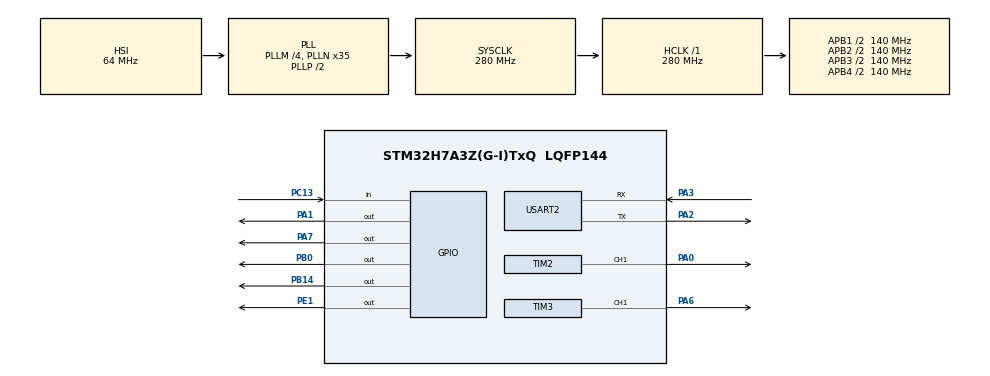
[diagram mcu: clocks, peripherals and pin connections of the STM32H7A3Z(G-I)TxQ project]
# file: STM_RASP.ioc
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CORTEX_M7.default_mode_Activation=1
Mcu.Family=STM32H7
Mcu.Name=STM32H7A3Z(G-I)TxQ
Mcu.Package=LQFP144
NUCLEO-H7A3ZI-Q.BUTTON=1
NUCLEO-H7A3ZI-Q.LD1=true
NUCLEO-H7A3ZI-Q.LD2=true
NUCLEO-H7A3ZI-Q.LD3=true
NUCLEO-H7A3ZI-Q.VCP=true
NVIC.EXTI15_10_IRQn=true\:0\:0\:false\:false\:true\:false\:true\:true
NVIC.PriorityGroup=NVIC_PRIORITYGROUP_4
NVIC.TIM2_IRQn=true\:0\:0\:false\:false\:true\:true\:true\:true
NVIC.TIM3_IRQn=true\:0\:0\:false\:false\:true\:true\:true\:true
NVIC.USART2_IRQn=true\:0\:0\:false\:false\:true\:true\:true\:true
PA0.Signal=S_TIM2_CH1_ETR
PA1.Signal=GPIO_Output
PA2.Mode=Asynchronous
PA2.Signal=USART2_TX
PA3.Mode=Asynchronous
PA3.Signal=USART2_RX
PA6.Signal=S_TIM3_CH1
PA7.Signal=GPIO_Output
PB0.Signal=GPIO_Output
PB14.Signal=GPIO_Output
PC13.Signal=GPIO_Input
PC14-OSC32_IN.GPIO_Label=OSC32_IN
PC14-OSC32_IN.Signal=RCC_OSC32_IN
PC15-OSC32_OUT.GPIO_Label=OSC32_OUT
PC15-OSC32_OUT.Signal=RCC_OSC32_OUT
PD8.Signal=USART3_TX
PD9.Signal=USART3_RX
PE1.Signal=GPIO_Output
PH0-OSC_IN.GPIO_Label=PH0-MCU
PH0-OSC_IN.Signal=RCC_OSC_IN
PH1-OSC_OUT.GPIO_Label=PH1-MCU
PH1-OSC_OUT.Signal=RCC_OSC_OUT
ProjectManager.HeapSize=0x200
ProjectManager.StackSize=0x400
ProjectManager.TargetToolchain=STM32CubeIDE
RCC.ADCFreq_Value=129000000
RCC.APB1Freq_Value=140000000
RCC.APB2Freq_Value=140000000
RCC.APB3Freq_Value=140000000
RCC.APB4Freq_Value=140000000
RCC.CDPPRE=RCC_APB3_DIV2
RCC.CDPPRE1=RCC_APB1_DIV2
RCC.CDPPRE2=RCC_APB2_DIV2
RCC.CortexFreq_Value=280000000
RCC.DIVM1=4
RCC.DIVM3=1
RCC.DIVN1=35
RCC.DIVN3=24
RCC.DIVQ1=4
RCC.HCLKFreq_Value=280000000
RCC.HSE_VALUE=8000000
RCC.PLLFRACN=0
RCC.PWR_Regulator_Voltage_Scale=PWR_REGULATOR_VOLTAGE_SCALE0
RCC.SRDPPRE=RCC_APB4_DIV2
RCC.SYSCLKFreq_VALUE=280000000
RCC.SYSCLKSource=RCC_SYSCLKSOURCE_PLLCLK
RCC.SupplySource=PWR_DIRECT_SMPS_SUPPLY
RCC.USBCLockSelection=RCC_USBCLKSOURCE_HSI48
RCC.USBFreq_Value=48000000
SH.S_TIM2_CH1_ETR.0=TIM2_CH1,PWM Generation1 CH1
SH.S_TIM3_CH1.0=TIM3_CH1,PWM Generation1 CH1
TIM2.Channel-PWM\ Generation1\ CH1=TIM_CHANNEL_1
TIM2.Period=685
TIM2.Pulse-PWM\ Generation1\ CH1=343
TIM3.Channel-PWM\ Generation1\ CH1=TIM_CHANNEL_1
TIM3.Period=41999
TIM3.Prescaler=3
TIM3.Pulse-PWM\ Generation1\ CH1=21000
USART2.VirtualMode-Asynchronous=VM_ASYNC
VP_MEMORYMAP_VS_MEMORYMAP.Mode=CurAppReg
VP_NUCLEO-H7A3ZI-Q_VS_BSP_COMMON.Mode=COMMON
board=NUCLEO-H7A3ZI-Q

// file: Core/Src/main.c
/* USER CODE BEGIN Header */
/**
  ******************************************************************************
  * @file           : main.c
  * @brief          : Main program body
  ******************************************************************************
  * @attention
  *
  * Copyright (c) 2026 STMicroelectronics.
  * All rights reserved.
  *
  * This software is licensed under terms that can be found in the LICENSE file
  * in the root directory of this software component.
  * If no LICENSE file comes with this software, it is provided AS-IS.
  *
  ******************************************************************************
  */
/* USER CODE END Header */
#include "main.h"

/* USER CODE BEGIN Includes */
#include <stdio.h>
#include <string.h>
/* USER CODE END Includes */

COM_InitTypeDef BspCOMInit;

TIM_HandleTypeDef htim2;
TIM_HandleTypeDef htim3;

UART_HandleTypeDef huart2;

/* USER CODE BEGIN PV */

char rxBuffer[64];
uint8_t rxChar;
uint8_t rxIndex = 0;
volatile uint8_t commandReady = 0;

#define PULSES_PER_REV 10000UL
#define TIMER_CLOCK_HZ 280000000UL

volatile uint32_t motor1_target_pulses = 0;
volatile uint32_t motor2_target_pulses = 0;

volatile uint32_t motor1_pulse_count = 0;
volatile uint32_t motor2_pulse_count = 0;

volatile uint8_t motor1_done = 1;
volatile uint8_t motor2_done = 1;

uint8_t uart_rx_byte;
char uart_rx_buffer[64];

volatile uint8_t uart_rx_index = 0;
volatile uint8_t uart_command_ready = 0;

volatile uint8_t both_report_pending = 0;
volatile uint8_t motor1_report_pending = 0;
volatile uint8_t motor2_report_pending = 0;

/* USER CODE END PV */

void SystemClock_Config(void);
static void MPU_Config(void);
static void MX_GPIO_Init(void);
static void MX_TIM2_Init(void);
static void MX_TIM3_Init(void);
static void MX_USART2_UART_Init(void);
/* USER CODE BEGIN PFP */
void ProcessCommand(void);
void MoveMotor1(float angle, uint32_t rpm, uint8_t direction);
void MoveMotor2(float angle, uint32_t rpm, uint8_t direction);
void MoveBothMotors(float angle1, uint32_t rpm1,
                    uint8_t direction1,
                    float angle2, uint32_t rpm2,
                    uint8_t direction2);
void SetMotorSpeed(TIM_HandleTypeDef *htim, uint32_t rpm);
void ProcessUARTCommand(void);
void UART_SendMessage(const char *message);
/* USER CODE END PFP */

int main(void)
{

  /* MPU Configuration--------------------------------------------------------*/
  MPU_Config();

  /* MCU Configuration--------------------------------------------------------*/

  /* Reset of all peripherals, Initializes the Flash interface and the Systick. */
  HAL_Init();

  /* Configure the system clock */
  SystemClock_Config();

  /* Initialize all configured peripherals */
  MX_GPIO_Init();
  MX_TIM2_Init();
  MX_TIM3_Init();
  MX_USART2_UART_Init();
  HAL_UART_Receive_IT(&huart2, &uart_rx_byte, 1);
  /* USER CODE END 2 */

  BSP_LED_Init(LED_GREEN);
  BSP_LED_Init(LED_YELLOW);
  BSP_LED_Init(LED_RED);

  /* Initialize USER push-button, will be used to trigger an interrupt each time it's pressed.*/
  BSP_PB_Init(BUTTON_USER, BUTTON_MODE_EXTI);

  /* Initialize COM1 port (115200, 8 bits (7-bit data + 1 stop bit), no parity */
  BspCOMInit.BaudRate   = 115200;
  BspCOMInit.WordLength = COM_WORDLENGTH_8B;
  BspCOMInit.StopBits   = COM_STOPBITS_1;
  BspCOMInit.Parity     = COM_PARITY_NONE;
  BspCOMInit.HwFlowCtl  = COM_HWCONTROL_NONE;
  if (BSP_COM_Init(COM1, &BspCOMInit) != BSP_ERROR_NONE)
  {
    Error_Handler();
  }

  /* Infinite loop */
  /* USER CODE BEGIN WHILE */
  while (1)
  {
      ProcessUARTCommand();

      if (both_report_pending && motor1_done && motor2_done)
      {
          both_report_pending = 0;
          UART_SendMessage("DONE\r\n");
      }
      else
      {
          if (motor1_report_pending && motor1_done)
          {
              motor1_report_pending = 0;
              UART_SendMessage("DONE\r\n");
          }

          if (motor2_report_pending && motor2_done)
          {
              motor2_report_pending = 0;
              UART_SendMessage("DONE\r\n");
          }
      }

  }
  /* USER CODE END 3 */
}

void SystemClock_Config(void)
{
  RCC_OscInitTypeDef RCC_OscInitStruct = {0};
  RCC_ClkInitTypeDef RCC_ClkInitStruct = {0};

  /*AXI clock gating */
  RCC->CKGAENR = 0xFFFFFFFF;

  /** Supply configuration update enable
  */
  HAL_PWREx_ConfigSupply(PWR_DIRECT_SMPS_SUPPLY);

  /** Configure the main internal regulator output voltage
  */
  __HAL_PWR_VOLTAGESCALING_CONFIG(PWR_REGULATOR_VOLTAGE_SCALE0);

  while(!__HAL_PWR_GET_FLAG(PWR_FLAG_VOSRDY)) {}

  /** Initializes the RCC Oscillators according to the specified parameters
  * in the RCC_OscInitTypeDef structure.
  */
  RCC_OscInitStruct.OscillatorType = RCC_OSCILLATORTYPE_HSI;
  RCC_OscInitStruct.HSIState = RCC_HSI_DIV1;
  RCC_OscInitStruct.HSICalibrationValue = 64;
  RCC_OscInitStruct.PLL.PLLState = RCC_PLL_ON;
  RCC_OscInitStruct.PLL.PLLSource = RCC_PLLSOURCE_HSI;
  RCC_OscInitStruct.PLL.PLLM = 4;
  RCC_OscInitStruct.PLL.PLLN = 35;
  RCC_OscInitStruct.PLL.PLLP = 2;
  RCC_OscInitStruct.PLL.PLLQ = 4;
  RCC_OscInitStruct.PLL.PLLR = 2;
  RCC_OscInitStruct.PLL.PLLRGE = RCC_PLL1VCIRANGE_3;
  RCC_OscInitStruct.PLL.PLLVCOSEL = RCC_PLL1VCOWIDE;
  RCC_OscInitStruct.PLL.PLLFRACN = 0;
  if (HAL_RCC_OscConfig(&RCC_OscInitStruct) != HAL_OK)
  {
    Error_Handler();
  }

  /** Initializes the CPU, AHB and APB buses clocks
  */
  RCC_ClkInitStruct.ClockType = RCC_CLOCKTYPE_HCLK|RCC_CLOCKTYPE_SYSCLK
                              |RCC_CLOCKTYPE_PCLK1|RCC_CLOCKTYPE_PCLK2
                              |RCC_CLOCKTYPE_D3PCLK1|RCC_CLOCKTYPE_D1PCLK1;
  RCC_ClkInitStruct.SYSCLKSource = RCC_SYSCLKSOURCE_PLLCLK;
  RCC_ClkInitStruct.SYSCLKDivider = RCC_SYSCLK_DIV1;
  RCC_ClkInitStruct.AHBCLKDivider = RCC_HCLK_DIV1;
  RCC_ClkInitStruct.APB3CLKDivider = RCC_APB3_DIV2;
  RCC_ClkInitStruct.APB1CLKDivider = RCC_APB1_DIV2;
  RCC_ClkInitStruct.APB2CLKDivider = RCC_APB2_DIV2;
  RCC_ClkInitStruct.APB4CLKDivider = RCC_APB4_DIV2;

  if (HAL_RCC_ClockConfig(&RCC_ClkInitStruct, FLASH_LATENCY_6) != HAL_OK)
  {
    Error_Handler();
  }
}

static void MX_TIM2_Init(void)
{

  TIM_MasterConfigTypeDef sMasterConfig = {0};
  TIM_OC_InitTypeDef sConfigOC = {0};

  htim2.Instance = TIM2;
  htim2.Init.Prescaler = 0;
  htim2.Init.CounterMode = TIM_COUNTERMODE_UP;
  htim2.Init.Period = 685;
  htim2.Init.ClockDivision = TIM_CLOCKDIVISION_DIV1;
  htim2.Init.AutoReloadPreload = TIM_AUTORELOAD_PRELOAD_DISABLE;
  if (HAL_TIM_PWM_Init(&htim2) != HAL_OK)
  {
    Error_Handler();
  }
  sMasterConfig.MasterOutputTrigger = TIM_TRGO_RESET;
  sMasterConfig.MasterSlaveMode = TIM_MASTERSLAVEMODE_DISABLE;
  if (HAL_TIMEx_MasterConfigSynchronization(&htim2, &sMasterConfig) != HAL_OK)
  {
    Error_Handler();
  }
  sConfigOC.OCMode = TIM_OCMODE_PWM1;
  sConfigOC.Pulse = 343;
  sConfigOC.OCPolarity = TIM_OCPOLARITY_HIGH;
  sConfigOC.OCFastMode = TIM_OCFAST_DISABLE;
  if (HAL_TIM_PWM_ConfigChannel(&htim2, &sConfigOC, TIM_CHANNEL_1) != HAL_OK)
  {
    Error_Handler();
  }
  HAL_TIM_MspPostInit(&htim2);

}

static void MX_TIM3_Init(void)
{

  TIM_MasterConfigTypeDef sMasterConfig = {0};
  TIM_OC_InitTypeDef sConfigOC = {0};

  htim3.Instance = TIM3;
  htim3.Init.Prescaler = 3;
  htim3.Init.CounterMode = TIM_COUNTERMODE_UP;
  htim3.Init.Period = 41999;
  htim3.Init.ClockDivision = TIM_CLOCKDIVISION_DIV1;
  htim3.Init.AutoReloadPreload = TIM_AUTORELOAD_PRELOAD_DISABLE;
  if (HAL_TIM_PWM_Init(&htim3) != HAL_OK)
  {
    Error_Handler();
  }
  sMasterConfig.MasterOutputTrigger = TIM_TRGO_RESET;
  sMasterConfig.MasterSlaveMode = TIM_MASTERSLAVEMODE_DISABLE;
  if (HAL_TIMEx_MasterConfigSynchronization(&htim3, &sMasterConfig) != HAL_OK)
  {
    Error_Handler();
  }
  sConfigOC.OCMode = TIM_OCMODE_PWM1;
  sConfigOC.Pulse = 21000;
  sConfigOC.OCPolarity = TIM_OCPOLARITY_HIGH;
  sConfigOC.OCFastMode = TIM_OCFAST_DISABLE;
  if (HAL_TIM_PWM_ConfigChannel(&htim3, &sConfigOC, TIM_CHANNEL_1) != HAL_OK)
  {
    Error_Handler();
  }
  HAL_TIM_MspPostInit(&htim3);

}

static void MX_USART2_UART_Init(void)
{

  huart2.Instance = USART2;
  huart2.Init.BaudRate = 115200;
  huart2.Init.WordLength = UART_WORDLENGTH_8B;
  huart2.Init.StopBits = UART_STOPBITS_1;
  huart2.Init.Parity = UART_PARITY_NONE;
  huart2.Init.Mode = UART_MODE_TX_RX;
  huart2.Init.HwFlowCtl = UART_HWCONTROL_NONE;
  huart2.Init.OverSampling = UART_OVERSAMPLING_16;
  huart2.Init.OneBitSampling = UART_ONE_BIT_SAMPLE_DISABLE;
  huart2.Init.ClockPrescaler = UART_PRESCALER_DIV1;
  huart2.AdvancedInit.AdvFeatureInit = UART_ADVFEATURE_NO_INIT;
  if (HAL_UART_Init(&huart2) != HAL_OK)
  {
    Error_Handler();
  }
  if (HAL_UARTEx_SetTxFifoThreshold(&huart2, UART_TXFIFO_THRESHOLD_1_8) != HAL_OK)
  {
    Error_Handler();
  }
  if (HAL_UARTEx_SetRxFifoThreshold(&huart2, UART_RXFIFO_THRESHOLD_1_8) != HAL_OK)
  {
    Error_Handler();
  }
  if (HAL_UARTEx_DisableFifoMode(&huart2) != HAL_OK)
  {
    Error_Handler();
  }

}

static void MX_GPIO_Init(void)
{
  GPIO_InitTypeDef GPIO_InitStruct = {0};

  /* GPIO Ports Clock Enable */
  __HAL_RCC_GPIOC_CLK_ENABLE();
  __HAL_RCC_GPIOH_CLK_ENABLE();
  __HAL_RCC_GPIOA_CLK_ENABLE();

  /*Configure GPIO pin Output Level */
  HAL_GPIO_WritePin(GPIOA, GPIO_PIN_1|GPIO_PIN_7, GPIO_PIN_RESET);

  /*Configure GPIO pins : PA1 PA7 */
  GPIO_InitStruct.Pin = GPIO_PIN_1|GPIO_PIN_7;
  GPIO_InitStruct.Mode = GPIO_MODE_OUTPUT_PP;
  GPIO_InitStruct.Pull = GPIO_NOPULL;
  GPIO_InitStruct.Speed = GPIO_SPEED_FREQ_LOW;
  HAL_GPIO_Init(GPIOA, &GPIO_InitStruct);

  /*AnalogSwitch Config */
  HAL_SYSCFG_AnalogSwitchConfig(SYSCFG_SWITCH_PA1, SYSCFG_SWITCH_PA1_CLOSE);

}

/* USER CODE BEGIN 4 */

void UART_SendMessage(const char *message)
{
    HAL_UART_Transmit(&huart2, (uint8_t *)message,
                      strlen(message), 1000);
}

void ProcessUARTCommand(void)
{
    char command[64];
    float angle1, angle2;
    unsigned long rpm1, rpm2;
    int parsed = 0;

    __disable_irq();

    if (!uart_command_ready)
    {
        __enable_irq();
        return;
    }

    strncpy(command, uart_rx_buffer, sizeof(command));
    command[sizeof(command) - 1] = '\0';
    uart_command_ready = 0;

    __enable_irq();

    /* BOTH: different angles and RPMs - check first */
    if (sscanf(command, "BOTH,%f,%lu,%f,%lu",
               &angle1, &rpm1, &angle2, &rpm2) == 4)
    {
        if (angle1 > 0 && angle1 <= 25200 &&
            angle2 > 0 && angle2 <= 25200 &&
            rpm1 >= 1 && rpm1 <= 100 &&
            rpm2 >= 1 && rpm2 <= 100 &&
            motor1_done && motor2_done)
        {
            both_report_pending = 1;
            motor1_report_pending = 0;
            motor2_report_pending = 0;

            MoveBothMotors(angle1, (uint32_t)rpm1, 1,
                           angle2, (uint32_t)rpm2, 1);

            parsed = (!motor1_done && !motor2_done);

            if (!parsed)
                both_report_pending = 0;
        }
    }

    /* BOTH: same angle and RPM */
    else if (sscanf(command, "BOTH,%f,%lu",
                    &angle1, &rpm1) == 2)
    {
        angle2 = angle1;
        rpm2 = rpm1;

        if (angle1 > 0 && angle1 <= 25200 &&
            rpm1 >= 1 && rpm1 <= 100 &&
            motor1_done && motor2_done)
        {
            both_report_pending = 1;
            motor1_report_pending = 0;
            motor2_report_pending = 0;

            MoveBothMotors(angle1, (uint32_t)rpm1, 1,
                           angle2, (uint32_t)rpm2, 1);

            parsed = (!motor1_done && !motor2_done);

            if (!parsed)
                both_report_pending = 0;
        }
    }

    /* Motor 1 only */
    else if (sscanf(command, "M1,%f,%lu",
                    &angle1, &rpm1) == 2)
    {
        if (angle1 > 0 && angle1 <= 25200 &&
            rpm1 >= 1 && rpm1 <= 100 && motor1_done)
        {
            motor1_report_pending = 1;
            MoveMotor1(angle1, (uint32_t)rpm1, 1);
            parsed = !motor1_done;
        }
    }

    /* Motor 2 only */
    else if (sscanf(command, "M2,%f,%lu",
                    &angle1, &rpm1) == 2)
    {
        if (angle1 > 0 && angle1 <= 25200 &&
            rpm1 >= 1 && rpm1 <= 100 && motor2_done)
        {
            motor2_report_pending = 1;
            MoveMotor2(angle1, (uint32_t)rpm1, 1);
            parsed = !motor2_done;
        }
    }

    if (parsed)
        UART_SendMessage("OK\r\n");
    else
        UART_SendMessage("ERR\r\n");
}

void HAL_UART_RxCpltCallback(UART_HandleTypeDef *huart)
{
    if (huart->Instance == USART2)
    {
        if (!uart_command_ready)
        {
            if (uart_rx_byte == '\n')
            {
                uart_rx_buffer[uart_rx_index] = '\0';
                uart_command_ready = 1;
                uart_rx_index = 0;
            }
            else if (uart_rx_byte != '\r')
            {
                if (uart_rx_index < sizeof(uart_rx_buffer) - 1)
                {
                	uart_rx_buffer[uart_rx_index++] = (char)uart_rx_byte;
                }
                else
                {
                    uart_rx_index = 0;
                }
            }
        }

        HAL_UART_Receive_IT(&huart2, &uart_rx_byte, 1);
    }
}

void SetMotorSpeed(TIM_HandleTypeDef *htim, uint32_t rpm)
{
    if (rpm == 0 || rpm > 100)
        return;

    uint64_t pulse_frequency =
        ((uint64_t)rpm * PULSES_PER_REV) / 60ULL;

    uint32_t prescaler_divisor = 1U;

    if (htim->Instance == TIM3)
    {
        prescaler_divisor = 4U;  // TIM3 PSC = 3
    }

    uint32_t arr =
        (uint32_t)((TIMER_CLOCK_HZ /
        ((uint64_t)prescaler_divisor * pulse_frequency)) - 1ULL);

    uint32_t ccr = (arr + 1U) / 2U;

    __HAL_TIM_DISABLE(htim);

    __HAL_TIM_SET_COUNTER(htim, 0);
    __HAL_TIM_SET_AUTORELOAD(htim, arr);
    __HAL_TIM_SET_COMPARE(htim, TIM_CHANNEL_1, ccr);

    htim->Instance->EGR = TIM_EGR_UG;

    __HAL_TIM_CLEAR_FLAG(htim, TIM_FLAG_UPDATE);
    __HAL_TIM_ENABLE(htim);
}

void MoveMotor1(float angle, uint32_t rpm, uint8_t direction)
{
    if (angle <= 0.0f || rpm == 0 || rpm > 100 || !motor1_done)
        return;

    motor1_target_pulses =
        (uint32_t)((angle * PULSES_PER_REV / 360.0f) + 0.5f);

    motor1_pulse_count = 0;
    motor1_done = 0;

    HAL_GPIO_WritePin(GPIOA, GPIO_PIN_1,
                      direction ? GPIO_PIN_RESET : GPIO_PIN_SET);

    SetMotorSpeed(&htim2, rpm);

    __HAL_TIM_SET_COUNTER(&htim2, 0);
    __HAL_TIM_CLEAR_FLAG(&htim2, TIM_FLAG_UPDATE);

    if (HAL_TIM_PWM_Start(&htim2, TIM_CHANNEL_1) != HAL_OK)
    {
        motor1_done = 1;
        Error_Handler();
    }

    if (HAL_TIM_Base_Start_IT(&htim2) != HAL_OK)
    {
        HAL_TIM_PWM_Stop(&htim2, TIM_CHANNEL_1);
        motor1_done = 1;
        Error_Handler();
    }
}

void MoveMotor2(float angle, uint32_t rpm, uint8_t direction)
{
    if (angle <= 0.0f || rpm == 0 || rpm > 100 || !motor2_done)
        return;

    motor2_target_pulses =
        (uint32_t)((angle * PULSES_PER_REV / 360.0f) + 0.5f);

    motor2_pulse_count = 0;
    motor2_done = 0;

    HAL_GPIO_WritePin(GPIOA, GPIO_PIN_7,
                      direction ? GPIO_PIN_RESET : GPIO_PIN_SET);
    SetMotorSpeed(&htim3, rpm);

    __HAL_TIM_SET_COUNTER(&htim3, 0);
    __HAL_TIM_CLEAR_FLAG(&htim3, TIM_FLAG_UPDATE);

    if (HAL_TIM_PWM_Start(&htim3, TIM_CHANNEL_1) != HAL_OK)
    {
        motor2_done = 1;
        Error_Handler();
    }

    if (HAL_TIM_Base_Start_IT(&htim3) != HAL_OK)
    {
        HAL_TIM_PWM_Stop(&htim3, TIM_CHANNEL_1);
        motor2_done = 1;
        Error_Handler();
    }
}

void MoveBothMotors(float angle1, uint32_t rpm1,
                    uint8_t direction1,
                    float angle2, uint32_t rpm2,
                    uint8_t direction2)
{
    if (!motor1_done || !motor2_done)
    {
        return;
    }

    if (angle1 <= 0.0f || angle1 > 25200.0f ||
        angle2 <= 0.0f || angle2 > 25200.0f ||
        rpm1 < 1 || rpm1 > 100 ||
        rpm2 < 1 || rpm2 > 100)
    {
        return;
    }

    MoveMotor1(angle1, rpm1, direction1);
    MoveMotor2(angle2, rpm2, direction2);
}

void HAL_TIM_PeriodElapsedCallback(TIM_HandleTypeDef *htim)
{
    if (htim->Instance == TIM2 && !motor1_done)
    {
        motor1_pulse_count++;

        if (motor1_pulse_count >= motor1_target_pulses)
        {
        	HAL_TIM_PWM_Stop(&htim2, TIM_CHANNEL_1);
        	HAL_TIM_Base_Stop_IT(&htim2);
        	motor1_done = 1;
        }
    }

    if (htim->Instance == TIM3 && !motor2_done)
    {
        motor2_pulse_count++;

        if (motor2_pulse_count >= motor2_target_pulses)
        {
            HAL_TIM_Base_Stop_IT(&htim3);
            HAL_TIM_PWM_Stop(&htim3, TIM_CHANNEL_1);

            motor2_done = 1;
        }
    }
}

/* USER CODE END 4 */

 /* MPU Configuration */

void MPU_Config(void)
{
  MPU_Region_InitTypeDef MPU_InitStruct = {0};

  /* Disables the MPU */
  HAL_MPU_Disable();

  /** Initializes and configures the Region and the memory to be protected
  */
  MPU_InitStruct.Enable = MPU_REGION_ENABLE;
  MPU_InitStruct.Number = MPU_REGION_NUMBER0;
  MPU_InitStruct.BaseAddress = 0x0;
  MPU_InitStruct.Size = MPU_REGION_SIZE_4GB;
  MPU_InitStruct.SubRegionDisable = 0x87;
  MPU_InitStruct.TypeExtField = MPU_TEX_LEVEL0;
  MPU_InitStruct.AccessPermission = MPU_REGION_NO_ACCESS;
  MPU_InitStruct.DisableExec = MPU_INSTRUCTION_ACCESS_DISABLE;
  MPU_InitStruct.IsShareable = MPU_ACCESS_SHAREABLE;
  MPU_InitStruct.IsCacheable = MPU_ACCESS_NOT_CACHEABLE;
  MPU_InitStruct.IsBufferable = MPU_ACCESS_NOT_BUFFERABLE;

  HAL_MPU_ConfigRegion(&MPU_InitStruct);
  /* Enables the MPU */
  HAL_MPU_Enable(MPU_PRIVILEGED_DEFAULT);

}

void Error_Handler(void)
{
    __disable_irq();

    while (1)
    {
        /* Stay here if a fatal error occurs */
    }
}
